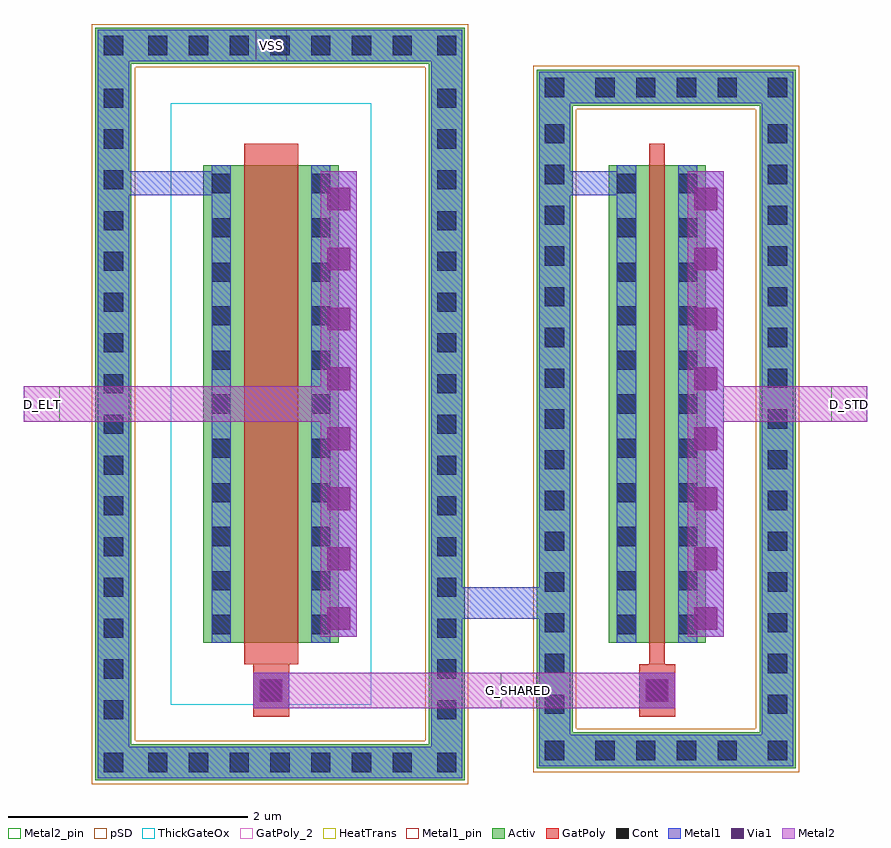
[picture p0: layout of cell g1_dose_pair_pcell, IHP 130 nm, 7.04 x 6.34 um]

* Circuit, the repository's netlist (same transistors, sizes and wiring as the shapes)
* Extracted by KLayout with SG13G2 LVS runset on : 18/09/2026 20:40

.SUBCKT g1_dose_pair_pcell D_ELT D_STD G_SHARED VSS
M$1 VSS G_SHARED D_STD VSS sg13_lv_nmos L=0.13u W=3.98u AS=1.3532p AD=1.3532p
+ PS=8.64u PD=8.64u rfmode=0
M$2 VSS G_SHARED D_ELT VSS sg13_hv_nmos L=0.45u W=3.98u AS=1.3532p AD=1.3532p
+ PS=8.64u PD=8.64u rfmode=0
.ENDS g1_dose_pair_pcell

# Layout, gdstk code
import gdstk
lib = gdstk.Library(unit=1e-6, precision=1e-09)
def R(c, l, rs):  # rectangles x0, y0, x1, y1
    for r in rs: c.add(gdstk.rectangle(r[:2], r[2:], *l))
def A(c, l, x, y, w, h, nx, ny, dx, dy):  # array of equal rectangles
    R(c, l, [(x+i*dx, y+j*dy, x+i*dx+w, y+j*dy+h) for i in range(nx) for j in range(ny)])
def P(c, l, *ps):  # polygons
    for p in ps: c.add(gdstk.Polygon(p, *l))
Activ = (1, 0)
GatPoly = (5, 0)
GatPoly_2 = (5, 2)
Cont = (6, 0)
Metal1 = (8, 0)
Metal1_pin = (8, 2)
Metal2 = (10, 0)
Metal2_pin = (10, 2)
pSD = (14, 0)
Via1 = (19, 0)
ThickGateOx = (44, 0)
HeatTrans = (51, 0)

nmoshv = lib.new_cell('nmosHV')
R(nmoshv, Activ, [(0,0,0.3,0.3), (0,0,1.13,3.98), (0.83,0,1.13,0.3)])
R(nmoshv, GatPoly, [(0.34,-0.18,0.79,4.16)])
R(nmoshv, GatPoly_2, [(0.34,-0.18,0.79,4.16)])
A(nmoshv, Cont, 0.07, 1.17, 0.16, 0.16, 1, 3, 0, 0.37)
A(nmoshv, Cont, 0.9, 1.17, 0.16, 0.16, 1, 3, 0, 0.37)
A(nmoshv, Cont, 0.07, 3.01, 0.16, 0.16, 1, 3, 0, 0.37)
A(nmoshv, Cont, 0.9, 3.01, 0.16, 0.16, 1, 3, 0, 0.37)
R(nmoshv, Cont, [(0.07,0.07,0.23,0.23), (0.9,0.07,1.06,0.23), (0.07,0.435,0.23,0.595), (0.9,0.435,1.06,0.595), (0.07,0.805,0.23,0.965), (0.9,0.805,1.06,0.965), (0.07,2.275,0.23,2.435), (0.9,2.275,1.06,2.435), (0.07,2.645,0.23,2.805), (0.9,2.645,1.06,2.805)])
R(nmoshv, Metal1, [(0.07,0,0.23,3.98), (0.9,0,1.06,3.98)])
R(nmoshv, Metal1_pin, [(0.07,0,0.23,3.98), (0.9,0,1.06,3.98)])
R(nmoshv, ThickGateOx, [(-0.27,-0.52,1.4,4.5)])
R(nmoshv, HeatTrans, [(0.34,-0.18,0.79,4.16)])
nmoshv.add(gdstk.Label('nmosHV', (0.565,1.99), layer=63, texttype=0))
nmoshv.add(gdstk.Label('nmosHV', (0.565,1.99), layer=51, texttype=0))

nmos = lib.new_cell('nmos')
R(nmos, Activ, [(0,0,0.3,0.3), (0,0,0.81,3.98), (0.51,0,0.81,0.3)])
R(nmos, GatPoly, [(0.34,-0.18,0.47,4.16)])
R(nmos, GatPoly_2, [(0.34,-0.18,0.47,4.16)])
A(nmos, Cont, 0.07, 1.17, 0.16, 0.16, 1, 3, 0, 0.37)
A(nmos, Cont, 0.58, 1.17, 0.16, 0.16, 1, 3, 0, 0.37)
A(nmos, Cont, 0.07, 3.01, 0.16, 0.16, 1, 3, 0, 0.37)
A(nmos, Cont, 0.58, 3.01, 0.16, 0.16, 1, 3, 0, 0.37)
R(nmos, Cont, [(0.07,0.07,0.23,0.23), (0.58,0.07,0.74,0.23), (0.07,0.435,0.23,0.595), (0.58,0.435,0.74,0.595), (0.07,0.805,0.23,0.965), (0.58,0.805,0.74,0.965), (0.07,2.275,0.23,2.435), (0.58,2.275,0.74,2.435), (0.07,2.645,0.23,2.805), (0.58,2.645,0.74,2.805)])
R(nmos, Metal1, [(0.07,0,0.23,3.98), (0.58,0,0.74,3.98)])
R(nmos, Metal1_pin, [(0.07,0,0.23,3.98), (0.58,0,0.74,3.98)])
R(nmos, HeatTrans, [(0.34,-0.18,0.47,4.16)])
nmos.add(gdstk.Label('nmos', (0.405,1.99), layer=63, texttype=0))
nmos.add(gdstk.Label('nmos', (0.405,1.99), layer=51, texttype=0))

g1_dose_pair_pcell = lib.new_cell('g1_dose_pair_pcell')
P(g1_dose_pair_pcell, Activ, [(-0.9,-0.75),(-0.9,5.23),(-0.6,5.23),(-0.6,-0.45),(1.88,-0.45),(1.88,5.23),(-0.9,5.23),(-0.9,5.53),(2.18,5.53),(2.18,-0.75)],
  [(2.78,-0.65),(2.78,4.88),(3.08,4.88),(3.08,-0.35),(4.64,-0.35),(4.64,4.88),(2.78,4.88),(2.78,5.18),(4.94,5.18),(4.94,-0.65)])
R(g1_dose_pair_pcell, GatPoly, [(0.415,-0.22,0.715,0.22), (3.635,-0.22,3.935,0.22)])
A(g1_dose_pair_pcell, Cont, -0.46, -0.68, 0.16, 0.16, 7, 2, 0.34, 5.98)
A(g1_dose_pair_pcell, Cont, 3.27, -0.58, 0.16, 0.16, 4, 2, 0.34, 5.53)
A(g1_dose_pair_pcell, Cont, -0.83, -0.24, 0.16, 0.16, 1, 16, 0, 0.34)
A(g1_dose_pair_pcell, Cont, 1.95, -0.24, 0.16, 0.16, 1, 16, 0, 0.34)
A(g1_dose_pair_pcell, Cont, 2.85, -0.195, 0.16, 0.16, 1, 15, 0, 0.34)
A(g1_dose_pair_pcell, Cont, 4.71, -0.195, 0.16, 0.16, 1, 15, 0, 0.34)
R(g1_dose_pair_pcell, Cont, [(-0.83,-0.68,-0.67,-0.52), (1.95,-0.68,2.11,-0.52), (2.85,-0.58,3.01,-0.42), (4.71,-0.58,4.87,-0.42), (0.485,-0.08,0.645,0.08), (3.705,-0.08,3.865,0.08), (2.85,4.95,3.01,5.11), (4.71,4.95,4.87,5.11), (-0.83,5.3,-0.67,5.46), (1.95,5.3,2.11,5.46)])
R(g1_dose_pair_pcell, Metal1, [(0.415,-0.15,0.715,0.15), (3.635,-0.15,3.935,0.15), (0.98,0.45,1.28,4.33), (4.04,0.45,4.34,4.33), (2.03,0.6,2.93,0.86), (-0.75,4.13,0.23,4.33), (2.93,4.13,3.61,4.33)])
P(g1_dose_pair_pcell, Metal1, [(-0.88,-0.73),(-0.88,5.25),(-0.62,5.25),(-0.62,-0.47),(1.9,-0.47),(1.9,5.25),(-0.88,5.25),(-0.88,5.51),(2.16,5.51),(2.16,-0.73)],
  [(2.8,-0.63),(2.8,4.9),(3.06,4.9),(3.06,-0.37),(4.66,-0.37),(4.66,4.9),(2.8,4.9),(2.8,5.16),(4.92,5.16),(4.92,-0.63)])
R(g1_dose_pair_pcell, Metal1_pin, [(0.435,5.25,0.695,5.51)])
R(g1_dose_pair_pcell, Metal2, [(0.415,-0.15,3.935,0.15), (0.98,0.45,1.28,4.33), (4.04,0.45,4.34,4.33), (-1.5,2.24,1.28,2.54), (4.04,2.24,5.54,2.54)])
R(g1_dose_pair_pcell, Metal2_pin, [(2.48,-0.15,2.78,0.15), (-1.5,2.24,-1.2,2.54), (5.24,2.24,5.54,2.54)])
P(g1_dose_pair_pcell, pSD, [(-0.93,-0.78),(-0.93,5.2),(-0.57,5.2),(-0.57,-0.42),(1.85,-0.42),(1.85,5.2),(-0.93,5.2),(-0.93,5.56),(2.21,5.56),(2.21,-0.78)],
  [(2.75,-0.68),(2.75,4.85),(3.11,4.85),(3.11,-0.32),(4.61,-0.32),(4.61,4.85),(2.75,4.85),(2.75,5.21),(4.97,5.21),(4.97,-0.68)])
A(g1_dose_pair_pcell, Via1, 1.035, 0.505, 0.19, 0.19, 1, 8, 0, 0.5)
A(g1_dose_pair_pcell, Via1, 4.095, 0.505, 0.19, 0.19, 1, 8, 0, 0.5)
R(g1_dose_pair_pcell, Via1, [(0.47,-0.095,0.66,0.095), (3.69,-0.095,3.88,0.095)])
g1_dose_pair_pcell.add(gdstk.Reference(nmoshv, (0,0.4)))
g1_dose_pair_pcell.add(gdstk.Reference(nmos, (3.38,0.4)))
g1_dose_pair_pcell.add(gdstk.Label('VSS', (0.565,5.38), layer=8, texttype=25))
g1_dose_pair_pcell.add(gdstk.Label('G_SHARED', (2.63,0), layer=10, texttype=25))
g1_dose_pair_pcell.add(gdstk.Label('D_ELT', (-1.35,2.39), layer=10, texttype=25))
g1_dose_pair_pcell.add(gdstk.Label('D_STD', (5.39,2.39), layer=10, texttype=25))

lib.write_gds('g1_dose_pair_pcell.gds')
